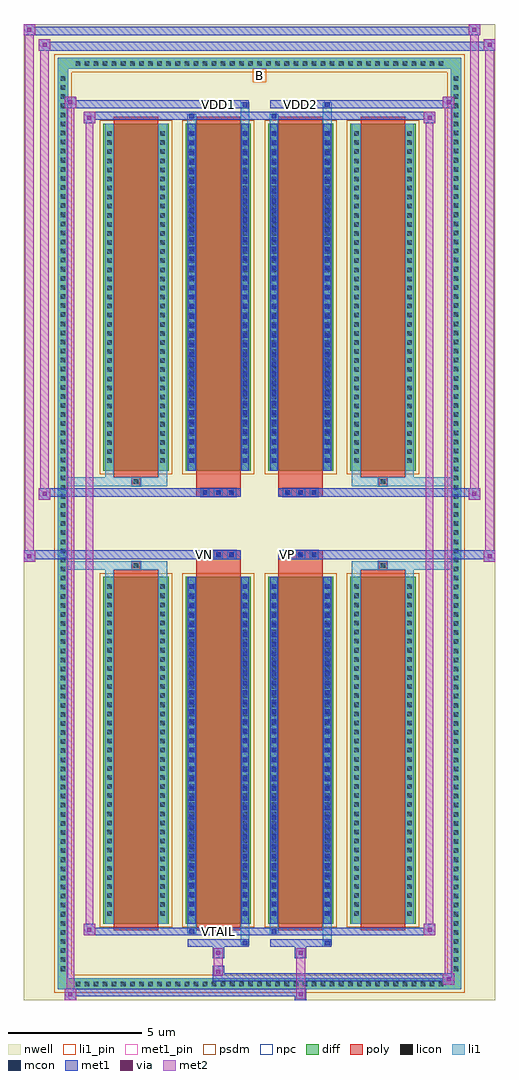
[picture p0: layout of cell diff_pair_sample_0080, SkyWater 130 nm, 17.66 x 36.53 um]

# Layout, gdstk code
import gdstk
lib = gdstk.Library(unit=1e-6, precision=5e-09)
def R(c, l, rs):  # rectangles x0, y0, x1, y1
    for r in rs: c.add(gdstk.rectangle(r[:2], r[2:], *l))
def A(c, l, x, y, w, h, nx, ny, dx, dy):  # array of equal rectangles
    R(c, l, [(x+i*dx, y+j*dy, x+i*dx+w, y+j*dy+h) for i in range(nx) for j in range(ny)])
def P(c, l, *ps):  # polygons
    for p in ps: c.add(gdstk.Polygon(p, *l))
nwell = (64, 20)
diff = (65, 20)
poly = (66, 20)
licon = (66, 44)
li1_pin = (67, 16)
li1 = (67, 20)
mcon = (67, 44)
met1_pin = (68, 16)
met1 = (68, 20)
via = (68, 44)
met2 = (69, 20)
psdm = (94, 20)
npc = (95, 20)

diff_pair_sample_0080 = lib.new_cell('diff_pair_sample_0080')
R(diff_pair_sample_0080, nwell, [(-8.83,-17.83,8.83,18.7), (-6.15,-16.02,-0.01,-0.8), (0.01,-16.02,6.15,-0.8), (-6.15,0.8,-0.01,16.02), (0.01,0.8,6.15,16.02)])
A(diff_pair_sample_0080, diff, -7.005, -17.43, 0.41, 0.41, 41, 2, 0.34, 34.45)
A(diff_pair_sample_0080, diff, -7.56, -16.865, 0.41, 0.41, 1, 99, 0, 0.34)
A(diff_pair_sample_0080, diff, 7.15, -16.865, 0.41, 0.41, 1, 99, 0, 0.34)
A(diff_pair_sample_0080, diff, -5.84, -14.975, 2.44, 12.99, 4, 2, 3.08, 16.96)
R(diff_pair_sample_0080, diff, [(-7.005,-17.43,7.005,-17.02), (-7.56,-16.865,-7.15,16.865), (7.15,-16.865,7.56,16.865), (-7.005,17.02,7.005,17.43)])
P(diff_pair_sample_0080, diff, [(7.56,17.43),(-7.56,17.43),(-7.56,-17.02),(-7.15,-17.02),(-7.15,17.02),(7.15,17.02),(7.15,-17.02),(-7.15,-17.02),(-7.56,-17.02),(-7.56,-17.43),(7.56,-17.43)])
A(diff_pair_sample_0080, poly, -5.45, -15.225, 1.66, 13.49, 4, 2, 3.08, 16.96)
A(diff_pair_sample_0080, poly, -2.205, -1.33, 0.33, 0.33, 3, 2, 0.5, 2.33)
A(diff_pair_sample_0080, poly, 0.875, -1.33, 0.33, 0.33, 3, 2, 0.5, 2.33)
R(diff_pair_sample_0080, poly, [(-4.785,-1.735,-4.455,-1.405), (-4.785,-1.735,-4.455,-1.405), (-2.37,-1.735,-0.71,-1.33), (0.71,-1.735,2.37,-1.33), (4.455,-1.735,4.785,-1.405), (4.455,-1.735,4.785,-1.405), (-2.37,-1.33,-0.71,-1), (0.71,-1.33,2.37,-1), (-2.37,1,-0.71,1.33), (0.71,1,2.37,1.33), (-2.37,1.33,-0.71,1.735), (0.71,1.33,2.37,1.735), (-4.785,1.405,-4.455,1.735), (-4.785,1.405,-4.455,1.735), (4.455,1.405,4.785,1.735), (4.455,1.405,4.785,1.735)])
A(diff_pair_sample_0080, licon, -6.885, -17.31, 0.17, 0.17, 41, 2, 0.34, 34.45)
A(diff_pair_sample_0080, licon, -7.44, -16.745, 0.17, 0.17, 1, 99, 0, 0.34)
A(diff_pair_sample_0080, licon, 7.27, -16.745, 0.17, 0.17, 1, 99, 0, 0.34)
A(diff_pair_sample_0080, licon, -5.7, -14.685, 0.17, 0.17, 1, 37, 0, 0.34)
A(diff_pair_sample_0080, licon, -3.71, -14.685, 0.17, 0.17, 1, 37, 0, 0.34)
A(diff_pair_sample_0080, licon, -2.62, -14.685, 0.17, 0.17, 1, 37, 0, 0.34)
A(diff_pair_sample_0080, licon, -0.63, -14.685, 0.17, 0.17, 1, 37, 0, 0.34)
A(diff_pair_sample_0080, licon, 0.46, -14.685, 0.17, 0.17, 1, 37, 0, 0.34)
A(diff_pair_sample_0080, licon, 2.45, -14.685, 0.17, 0.17, 1, 37, 0, 0.34)
A(diff_pair_sample_0080, licon, 3.54, -14.685, 0.17, 0.17, 1, 37, 0, 0.34)
A(diff_pair_sample_0080, licon, 5.53, -14.685, 0.17, 0.17, 1, 37, 0, 0.34)
A(diff_pair_sample_0080, licon, -2.125, -1.25, 0.17, 0.17, 3, 2, 0.5, 2.33)
A(diff_pair_sample_0080, licon, 0.955, -1.25, 0.17, 0.17, 3, 2, 0.5, 2.33)
A(diff_pair_sample_0080, licon, -5.7, 2.275, 0.17, 0.17, 1, 37, 0, 0.34)
A(diff_pair_sample_0080, licon, -3.71, 2.275, 0.17, 0.17, 1, 37, 0, 0.34)
A(diff_pair_sample_0080, licon, -2.62, 2.275, 0.17, 0.17, 1, 37, 0, 0.34)
A(diff_pair_sample_0080, licon, -0.63, 2.275, 0.17, 0.17, 1, 37, 0, 0.34)
A(diff_pair_sample_0080, licon, 0.46, 2.275, 0.17, 0.17, 1, 37, 0, 0.34)
A(diff_pair_sample_0080, licon, 2.45, 2.275, 0.17, 0.17, 1, 37, 0, 0.34)
A(diff_pair_sample_0080, licon, 3.54, 2.275, 0.17, 0.17, 1, 37, 0, 0.34)
A(diff_pair_sample_0080, licon, 5.53, 2.275, 0.17, 0.17, 1, 37, 0, 0.34)
R(diff_pair_sample_0080, licon, [(-4.705,-1.655,-4.535,-1.485), (4.535,-1.655,4.705,-1.485), (-4.705,1.485,-4.535,1.655), (4.535,1.485,4.705,1.655)])
R(diff_pair_sample_0080, li1_pin, [(-0.25,16.52,0.25,17.02)])
A(diff_pair_sample_0080, li1, -6.965, -17.39, 0.33, 0.33, 41, 2, 0.34, 34.45)
A(diff_pair_sample_0080, li1, -7.52, -16.825, 0.33, 0.33, 1, 99, 0, 0.34)
A(diff_pair_sample_0080, li1, 7.19, -16.825, 0.33, 0.33, 1, 99, 0, 0.34)
A(diff_pair_sample_0080, li1, -5.78, -14.765, 0.33, 0.33, 1, 37, 0, 0.34)
A(diff_pair_sample_0080, li1, -3.79, -14.765, 0.33, 0.33, 1, 37, 0, 0.34)
A(diff_pair_sample_0080, li1, -2.7, -14.765, 0.33, 0.33, 1, 37, 0, 0.34)
A(diff_pair_sample_0080, li1, -0.71, -14.765, 0.33, 0.33, 1, 37, 0, 0.34)
A(diff_pair_sample_0080, li1, 0.38, -14.765, 0.33, 0.33, 1, 37, 0, 0.34)
A(diff_pair_sample_0080, li1, 2.37, -14.765, 0.33, 0.33, 1, 37, 0, 0.34)
A(diff_pair_sample_0080, li1, 3.46, -14.765, 0.33, 0.33, 1, 37, 0, 0.34)
A(diff_pair_sample_0080, li1, 5.45, -14.765, 0.33, 0.33, 1, 37, 0, 0.34)
A(diff_pair_sample_0080, li1, -2.62, -14.685, 0.17, 0.17, 1, 35, 0, 0.36)
A(diff_pair_sample_0080, li1, -0.63, -14.685, 0.17, 0.17, 1, 35, 0, 0.36)
A(diff_pair_sample_0080, li1, 0.46, -14.685, 0.17, 0.17, 1, 35, 0, 0.36)
A(diff_pair_sample_0080, li1, 2.45, -14.685, 0.17, 0.17, 1, 35, 0, 0.36)
A(diff_pair_sample_0080, li1, -2.205, -1.33, 0.33, 0.33, 3, 2, 0.5, 2.33)
A(diff_pair_sample_0080, li1, 0.875, -1.33, 0.33, 0.33, 3, 2, 0.5, 2.33)
A(diff_pair_sample_0080, li1, -5.78, 2.195, 0.33, 0.33, 1, 37, 0, 0.34)
A(diff_pair_sample_0080, li1, -3.79, 2.195, 0.33, 0.33, 1, 37, 0, 0.34)
A(diff_pair_sample_0080, li1, -2.7, 2.195, 0.33, 0.33, 1, 37, 0, 0.34)
A(diff_pair_sample_0080, li1, -0.71, 2.195, 0.33, 0.33, 1, 37, 0, 0.34)
A(diff_pair_sample_0080, li1, 0.38, 2.195, 0.33, 0.33, 1, 37, 0, 0.34)
A(diff_pair_sample_0080, li1, 2.37, 2.195, 0.33, 0.33, 1, 37, 0, 0.34)
A(diff_pair_sample_0080, li1, 3.46, 2.195, 0.33, 0.33, 1, 37, 0, 0.34)
A(diff_pair_sample_0080, li1, 5.45, 2.195, 0.33, 0.33, 1, 37, 0, 0.34)
A(diff_pair_sample_0080, li1, -2.62, 2.275, 0.17, 0.17, 1, 35, 0, 0.36)
A(diff_pair_sample_0080, li1, -0.63, 2.275, 0.17, 0.17, 1, 35, 0, 0.36)
A(diff_pair_sample_0080, li1, 0.46, 2.275, 0.17, 0.17, 1, 35, 0, 0.36)
A(diff_pair_sample_0080, li1, 2.45, 2.275, 0.17, 0.17, 1, 35, 0, 0.36)
R(diff_pair_sample_0080, li1, [(-7.56,-17.43,-7.15,-17.02), (-7.56,-17.43,-7.15,-17.02), (-7.15,-17.43,7.15,-17.02), (7.15,-17.43,7.56,-17.02), (7.15,-17.43,7.56,-17.02), (-7.56,-17.02,-7.15,17.02), (7.15,-17.02,7.56,17.02), (-0.71,-15.78,-0.38,-14.975), (-0.63,-15.78,-0.46,-15.61), (2.37,-15.78,2.7,-14.975), (2.45,-15.78,2.62,-15.61), (-2.7,-15.35,-2.37,-14.975), (-2.62,-15.35,-2.45,-15.18), (0.38,-15.35,0.71,-14.975), (0.46,-15.35,0.63,-15.18), (-5.78,-14.975,-5.45,-1.985), (-3.79,-14.975,-3.46,-1.985), (-2.7,-14.975,-2.37,-1.985), (-0.71,-14.975,-0.38,-1.985), (0.38,-14.975,0.71,-1.985), (2.37,-14.975,2.7,-1.985), (3.46,-14.975,3.79,-1.985), (5.45,-14.975,5.78,-1.985), (-2.62,-14.685,-2.45,-2.275), (-0.63,-14.685,-0.46,-2.275), (0.46,-14.685,0.63,-2.275), (2.45,-14.685,2.62,-2.275), (-5.78,-1.985,-5.45,-1.405), (-3.79,-1.985,-3.46,-1.405), (3.46,-1.985,3.79,-1.405), (5.45,-1.985,5.78,-1.405), (-7.56,-1.735,-4.785,-1.405), (-5.78,-1.735,-4.785,-1.405), (-4.785,-1.735,-4.455,-1.405), (-4.455,-1.735,-3.46,-1.405), (3.46,-1.735,4.455,-1.405), (4.455,-1.735,4.785,-1.405), (4.455,-1.735,7.56,-1.405), (4.785,-1.735,5.78,-1.405), (-7.56,1.405,-4.785,1.735), (-5.78,1.405,-4.785,1.735), (-5.78,1.405,-5.45,1.985), (-4.785,1.405,-4.455,1.735), (-4.455,1.405,-3.46,1.735), (-3.79,1.405,-3.46,1.985), (3.46,1.405,4.455,1.735), (3.46,1.405,3.79,1.985), (4.455,1.405,4.785,1.735), (4.455,1.405,7.56,1.735), (4.785,1.405,5.78,1.735), (5.45,1.405,5.78,1.985), (-5.78,1.985,-5.45,14.975), (-3.79,1.985,-3.46,14.975), (-2.7,1.985,-2.37,14.975), (-0.71,1.985,-0.38,14.975), (0.38,1.985,0.71,14.975), (2.37,1.985,2.7,14.975), (3.46,1.985,3.79,14.975), (5.45,1.985,5.78,14.975), (-2.62,2.275,-2.45,14.685), (-0.63,2.275,-0.46,14.685), (0.46,2.275,0.63,14.685), (2.45,2.275,2.62,14.685), (-2.7,14.975,-2.37,15.35), (-0.71,14.975,-0.38,15.78), (0.38,14.975,0.71,15.35), (2.37,14.975,2.7,15.78), (-2.62,15.18,-2.45,15.35), (0.46,15.18,0.63,15.35), (-0.63,15.61,-0.46,15.78), (2.45,15.61,2.62,15.78), (-7.56,17.02,-7.15,17.43), (-7.56,17.02,-7.15,17.43), (-7.15,17.02,7.15,17.43), (7.15,17.02,7.56,17.43), (7.15,17.02,7.56,17.43)])
A(diff_pair_sample_0080, mcon, -2.62, -14.685, 0.17, 0.17, 1, 35, 0, 0.36)
A(diff_pair_sample_0080, mcon, -0.63, -14.685, 0.17, 0.17, 1, 35, 0, 0.36)
A(diff_pair_sample_0080, mcon, 0.46, -14.685, 0.17, 0.17, 1, 35, 0, 0.36)
A(diff_pair_sample_0080, mcon, 2.45, -14.685, 0.17, 0.17, 1, 35, 0, 0.36)
A(diff_pair_sample_0080, mcon, -2.125, -1.25, 0.17, 0.17, 3, 2, 0.5, 2.33)
A(diff_pair_sample_0080, mcon, 0.955, -1.25, 0.17, 0.17, 3, 2, 0.5, 2.33)
A(diff_pair_sample_0080, mcon, -2.62, 2.275, 0.17, 0.17, 1, 35, 0, 0.36)
A(diff_pair_sample_0080, mcon, -0.63, 2.275, 0.17, 0.17, 1, 35, 0, 0.36)
A(diff_pair_sample_0080, mcon, 0.46, 2.275, 0.17, 0.17, 1, 35, 0, 0.36)
A(diff_pair_sample_0080, mcon, 2.45, 2.275, 0.17, 0.17, 1, 35, 0, 0.36)
R(diff_pair_sample_0080, mcon, [(-0.63,-15.78,-0.46,-15.61), (2.45,-15.78,2.62,-15.61), (-2.62,-15.35,-2.45,-15.18), (0.46,-15.35,0.63,-15.18), (-2.62,15.18,-2.45,15.35), (0.46,15.18,0.63,15.35), (-0.63,15.61,-0.46,15.78), (2.45,15.61,2.62,15.78)])
R(diff_pair_sample_0080, met1_pin, [(-1.675,-15.39,-1.405,-15.12), (-2.175,-1.29,-1.905,-1.02), (0.905,-1.29,1.175,-1.02), (-1.675,15.57,-1.405,15.84), (1.405,15.57,1.675,15.84)])
A(diff_pair_sample_0080, met1, -2.68, -14.745, 0.29, 0.29, 1, 35, 0, 0.36)
A(diff_pair_sample_0080, met1, -0.69, -14.745, 0.29, 0.29, 1, 35, 0, 0.36)
A(diff_pair_sample_0080, met1, 0.4, -14.745, 0.29, 0.29, 1, 35, 0, 0.36)
A(diff_pair_sample_0080, met1, 2.39, -14.745, 0.29, 0.29, 1, 35, 0, 0.36)
A(diff_pair_sample_0080, met1, -2.185, -1.31, 0.29, 0.29, 3, 2, 0.5, 2.33)
A(diff_pair_sample_0080, met1, 0.895, -1.31, 0.29, 0.29, 3, 2, 0.5, 2.33)
A(diff_pair_sample_0080, met1, -2.68, 2.215, 0.29, 0.29, 1, 35, 0, 0.36)
A(diff_pair_sample_0080, met1, -0.69, 2.215, 0.29, 0.29, 1, 35, 0, 0.36)
A(diff_pair_sample_0080, met1, 0.4, 2.215, 0.29, 0.29, 1, 35, 0, 0.36)
A(diff_pair_sample_0080, met1, 2.39, 2.215, 0.29, 0.29, 1, 35, 0, 0.36)
R(diff_pair_sample_0080, met1, [(-7.29,-17.83,-6.86,-17.4), (1.325,-17.83,1.755,-17.4), (-7.29,-17.69,1.755,-17.4), (6.86,-17.26,7.29,-16.83), (-1.755,-17.12,7.29,-16.83), (-1.755,-16.98,-1.325,-16.55), (-1.755,-16.27,-1.325,-15.84), (1.325,-16.27,1.755,-15.84), (-2.68,-15.84,-0.4,-15.55), (-0.69,-15.84,-0.4,-15.55), (0.4,-15.84,2.68,-15.55), (2.39,-15.84,2.68,-15.55), (-6.58,-15.41,-6.15,-14.98), (-6.58,-15.41,-2.68,-15.12), (-2.68,-15.41,-2.39,-15.12), (-2.68,-15.41,-0.4,-15.12), (-0.4,-15.41,0.4,-15.12), (0.4,-15.41,0.69,-15.12), (0.4,-15.41,2.68,-15.12), (2.68,-15.41,6.58,-15.12), (6.15,-15.41,6.58,-14.98), (-2.68,-14.975,-2.39,-1.985), (-0.69,-14.975,-0.4,-1.985), (0.4,-14.975,0.69,-1.985), (2.39,-14.975,2.68,-1.985), (-8.83,-1.43,-8.4,-1), (8.4,-1.43,8.83,-1), (-8.83,-1.33,-0.71,-1), (-2.37,-1.33,-0.71,-1), (0.71,-1.33,2.37,-1), (0.71,-1.33,8.83,-1), (-8.26,0.9,-7.83,1.33), (7.83,0.9,8.26,1.33), (-8.26,1,-2.37,1.33), (-2.37,1,-0.71,1.33), (0.71,1,2.37,1.33), (2.37,1,8.26,1.33), (-2.68,1.985,-2.39,14.975), (-0.69,1.985,-0.4,14.975), (0.4,1.985,0.69,14.975), (2.39,1.985,2.68,14.975), (-6.58,14.98,-6.15,15.41), (6.15,14.98,6.58,15.41), (-6.58,15.12,-2.68,15.41), (-2.68,15.12,-2.39,15.41), (-2.68,15.12,-0.4,15.41), (-0.4,15.12,0.4,15.41), (0.4,15.12,0.69,15.41), (0.4,15.12,2.68,15.41), (2.68,15.12,6.58,15.41), (-7.29,15.55,-6.86,15.98), (-7.29,15.55,-2.68,15.84), (-2.68,15.55,-0.4,15.84), (-0.69,15.55,-0.4,15.84), (0.4,15.55,2.68,15.84), (2.39,15.55,2.68,15.84), (2.68,15.55,7.29,15.84), (6.86,15.55,7.29,15.98), (-8.26,17.7,-7.83,18.13), (-8.26,17.7,-6.15,18.03), (-6.15,17.7,6.15,18.03), (6.15,17.7,8.83,18.03), (8.4,17.7,8.83,18.13), (-8.83,18.27,-8.4,18.7), (-8.83,18.27,-6.15,18.6), (-6.15,18.27,6.15,18.6), (6.15,18.27,8.26,18.6), (7.83,18.27,8.26,18.7)])
R(diff_pair_sample_0080, via, [(-7.15,-17.69,-7,-17.54), (1.465,-17.69,1.615,-17.54), (7,-17.12,7.15,-16.97), (-1.615,-16.84,-1.465,-16.69), (-1.615,-16.13,-1.465,-15.98), (1.465,-16.13,1.615,-15.98), (-6.44,-15.27,-6.29,-15.12), (6.29,-15.27,6.44,-15.12), (-8.69,-1.29,-8.54,-1.14), (8.54,-1.29,8.69,-1.14), (-8.12,1.04,-7.97,1.19), (7.97,1.04,8.12,1.19), (-6.44,15.12,-6.29,15.27), (6.29,15.12,6.44,15.27), (-7.15,15.69,-7,15.84), (7,15.69,7.15,15.84), (-8.12,17.84,-7.97,17.99), (8.54,17.84,8.69,17.99), (-8.69,18.41,-8.54,18.56), (7.97,18.41,8.12,18.56)])
R(diff_pair_sample_0080, met2, [(-7.29,-17.83,-6.86,-17.4), (-7.22,-17.83,-6.93,15.98), (-6.93,-17.83,-6.86,-17.4), (-7.24,-17.78,-6.91,-17.45), (1.375,-17.78,1.705,-17.45), (1.375,-17.45,1.705,-16.22), (6.86,-17.26,7.29,-16.83), (6.93,-17.26,7.22,15.98), (7.22,-17.26,7.29,-16.83), (6.91,-17.21,7.24,-16.88), (-1.705,-16.93,-1.375,-16.6), (-1.705,-16.6,-1.375,-16.22), (-1.705,-16.22,-1.375,-15.89), (1.375,-16.22,1.705,-15.89), (-6.58,-15.41,-6.15,-14.98), (-6.51,-15.41,-6.22,15.41), (-6.22,-15.41,-6.15,-14.98), (6.15,-15.41,6.58,-14.98), (6.22,-15.41,6.51,15.41), (6.51,-15.41,6.58,-14.98), (-6.53,-15.36,-6.2,-15.03), (6.2,-15.36,6.53,-15.03), (-8.83,-1.43,-8.4,-1), (-8.78,-1.43,-8.45,18.7), (-8.45,-1.43,-8.4,-1), (8.4,-1.43,8.83,-1), (8.45,-1.43,8.78,18.13), (8.78,-1.43,8.83,-1), (-8.78,-1.38,-8.45,-1.05), (8.45,-1.38,8.78,-1.05), (-8.26,0.9,-7.83,1.33), (-8.21,0.9,-7.88,18.13), (-7.88,0.9,-7.83,1.33), (7.83,0.9,8.26,1.33), (7.88,0.9,8.21,18.7), (8.21,0.9,8.26,1.33), (-8.21,0.95,-7.88,1.28), (7.88,0.95,8.21,1.28), (-6.58,14.98,-6.15,15.41), (-6.22,14.98,-6.15,15.41), (6.15,14.98,6.58,15.41), (6.51,14.98,6.58,15.41), (-6.53,15.03,-6.2,15.36), (6.2,15.03,6.53,15.36), (-7.29,15.55,-6.86,15.98), (-6.93,15.55,-6.86,15.98), (6.86,15.55,7.29,15.98), (7.22,15.55,7.29,15.98), (-7.24,15.6,-6.91,15.93), (6.91,15.6,7.24,15.93), (-8.26,17.7,-7.83,18.13), (-7.88,17.7,-7.83,18.13), (8.4,17.7,8.83,18.13), (8.78,17.7,8.83,18.13), (-8.21,17.75,-7.88,18.08), (8.45,17.75,8.78,18.08), (-8.83,18.27,-8.4,18.7), (-8.45,18.27,-8.4,18.7), (7.83,18.27,8.26,18.7), (8.21,18.27,8.26,18.7), (-8.78,18.32,-8.45,18.65), (7.88,18.32,8.21,18.65)])
A(diff_pair_sample_0080, psdm, -5.97, -15.105, 2.7, 13.25, 4, 2, 3.08, 16.96)
P(diff_pair_sample_0080, psdm, [(7.69,17.56),(-7.69,17.56),(-7.69,-16.89),(-7.02,-16.89),(-7.02,16.89),(7.02,16.89),(7.02,-16.89),(-7.02,-16.89),(-7.69,-16.89),(-7.69,-17.56),(7.69,-17.56)])
A(diff_pair_sample_0080, npc, -2.225, -1.35, 0.37, 0.37, 3, 2, 0.5, 2.33)
A(diff_pair_sample_0080, npc, 0.855, -1.35, 0.37, 0.37, 3, 2, 0.5, 2.33)
R(diff_pair_sample_0080, npc, [(-4.805,-1.755,-4.435,-1.385), (4.435,-1.755,4.805,-1.385), (-2.225,-1.35,-1.355,-0.98), (-2.225,-1.35,-1.355,-0.98), (-1.725,-1.35,-0.855,-0.98), (-1.725,-1.35,-0.855,-0.98), (0.855,-1.35,1.725,-0.98), (0.855,-1.35,1.725,-0.98), (1.355,-1.35,2.225,-0.98), (1.355,-1.35,2.225,-0.98), (-2.225,0.98,-1.355,1.35), (-2.225,0.98,-1.355,1.35), (-1.725,0.98,-0.855,1.35), (-1.725,0.98,-0.855,1.35), (0.855,0.98,1.725,1.35), (0.855,0.98,1.725,1.35), (1.355,0.98,2.225,1.35), (1.355,0.98,2.225,1.35), (-4.805,1.385,-4.435,1.755), (4.435,1.385,4.805,1.755)])
diff_pair_sample_0080.add(gdstk.Label('VTAIL', (-1.54,-15.255), layer=68, texttype=5))
diff_pair_sample_0080.add(gdstk.Label('VN', (-2.04,-1.155), layer=68, texttype=5))
diff_pair_sample_0080.add(gdstk.Label('VP', (1.04,-1.155), layer=68, texttype=5))
diff_pair_sample_0080.add(gdstk.Label('B', (0,16.77), layer=67, texttype=5))
diff_pair_sample_0080.add(gdstk.Label('VDD2', (1.54,15.705), layer=68, texttype=5))
diff_pair_sample_0080.add(gdstk.Label('VDD1', (-1.54,15.705), layer=68, texttype=5))

lib.write_gds('diff_pair_sample_0080.gds')
